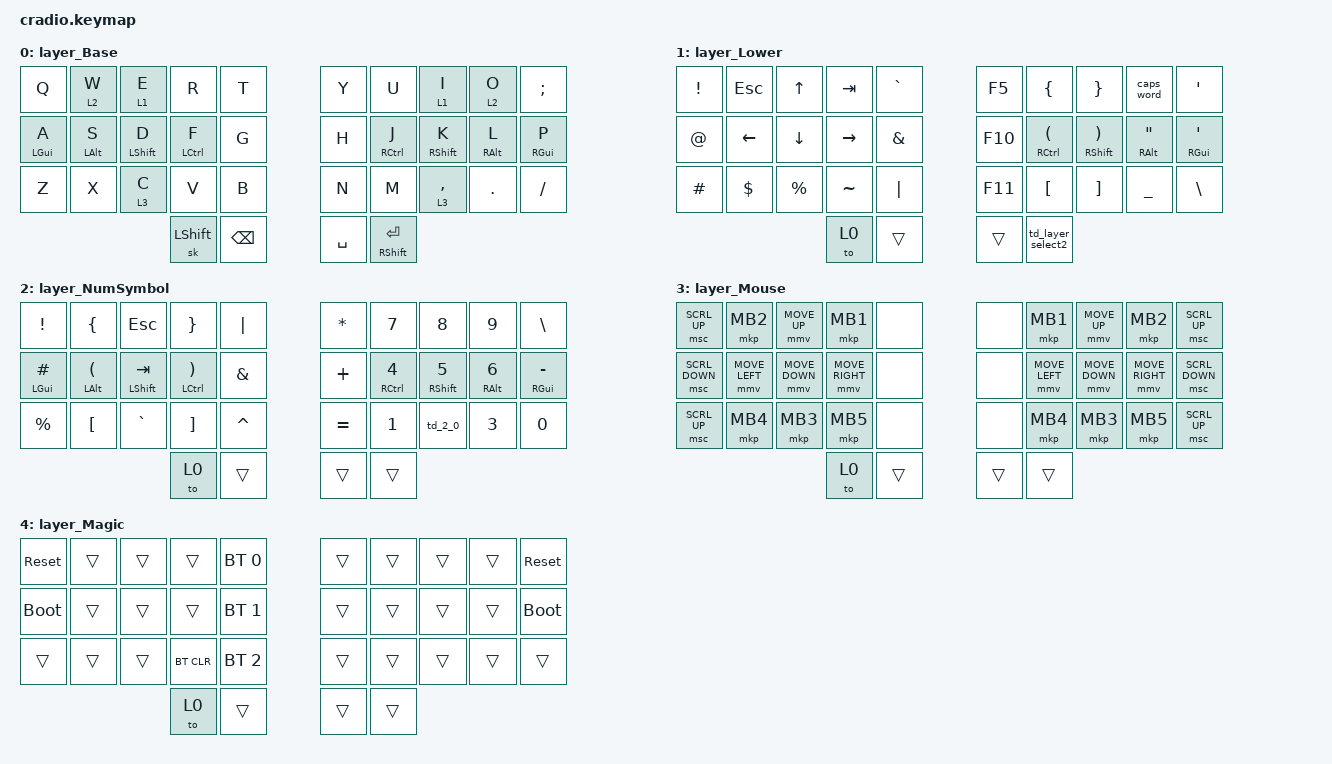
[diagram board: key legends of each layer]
// Copyright (c) 2022 The ZMK Contributors
// SPDX-License-Identifier: MIT

#include <behaviors.dtsi>
#include <dt-bindings/zmk/outputs.h>
#include <dt-bindings/zmk/keys.h>
#include <dt-bindings/zmk/bt.h>

// ==== MOUSE-KEY <section begins> ====
#define ZMK_POINTING_DEFAULT_MOVE_VAL 1250
#define ZMK_POINTING_DEFAULT_SCRL_VAL 100

#include <dt-bindings/zmk/pointing.h>

&mmv {
  acceleration-exponent = <1>;      // 1
  time-to-max-speed-ms = <1500>;    // 40
};

&msc {
  acceleration-exponent = <1>;      // 0
  time-to-max-speed-ms = <5000>;    // 40
};
// ==== MOUSE-KEY <section ends> =====

#define HM_TAPPING_TERM 300
#define HM_TAPPING_TERM_FAST 200
#define HM_PRIOR_IDLE 150

#define COMBO(NAME, BINDINGS, KEYPOS, LAYERS) \
  combo_##NAME { \
    timeout-ms = <50>; \
    bindings = <BINDINGS>; \
    key-positions = <KEYPOS>; \
    layers = <LAYERS>; \
  };

/ {
    behaviors {

    /* Left hand key positions for use with right hand mods */
    #define KEYS_L \
        /*    ┌────┬────┬────┬────┬────┐                                       */ \
                0    1    2    3    4                                             \
        /*    ├────┼────┼────┼────┼────┤                                       */ \
                10   11   12   13   14                                            \
        /*    ├────┼────┼────┼────┼────┤                                       */ \
                20   21   22   23   24
        /*    └────┴────┴────┴────┴────┘                                       */

    /* Right hand key positions for use with left hand mods */
    #define KEYS_R \
        /*                                          ┌────┬────┬────┬────┬────┐ */ \
                                                      5    6    7    8    9       \
        /*                                          ├────┼────┼────┼────┼────┤ */ \
                                                      15   16   17   18   19      \
        /*                                          ├────┼────┼────┼────┼────┤ */ \
                                                      25   26   27   28   29      \
        /*                                          └────┴────┴────┴────┴────┘ */

    /* Thumb key positions for use with mods on both hands */
    #define KEYS_T \
        /*                 ┌────┬────┐      ┌────┬────┐              */ \
                             30   31          32   33
        /*                 └────┴────┘      └────┴────┘              */  

    // Positional Homerow mods
    // Homerow mods that prevent accidental activations when rolling keys,
    // such as when typing `st` or `ne` on colemak-dh layouts or `as` on
    // qwerty.
    //
    // Works by only allowing a mod to activate within tapping-term if
    // it's on the opposite side of the keyboard or on the same side thumb
    // keys.

    // Further optimization using urob's timerless homerow mods method:
    // https://github.com/urob/zmk-config#timeless-homerow-mods
    hm_l: homerow_mods_left {
        compatible = "zmk,behavior-hold-tap";
        #binding-cells = <2>;
        bindings = <&kp>,  <&kp>;

        flavor = "balanced";
        tapping-term-ms = <HM_TAPPING_TERM>;
        quick-tap-ms = <175>;                // repeat on tap-into-hold
        require-prior-idle-ms = <HM_PRIOR_IDLE>;

        hold-trigger-key-positions = <KEYS_R KEYS_T>;
        hold-trigger-on-release;
    };

    hm_r: homerow_mods_right {
        compatible = "zmk,behavior-hold-tap";
        #binding-cells = <2>;
        bindings = <&kp>, <&kp>;

        flavor = "balanced";
        tapping-term-ms = <HM_TAPPING_TERM>;
        quick-tap-ms = <175>;
        require-prior-idle-ms = <HM_PRIOR_IDLE>;

        hold-trigger-key-positions = <KEYS_L KEYS_T>;
        hold-trigger-on-release;
    };

    // Positional Homerow mods for shift
    // Use faster tapping term and disable some features that may
    // cause false negatives.
    hm_shift_l: hm_shift_l {
        compatible = "zmk,behavior-hold-tap";
        #binding-cells = <2>;
        bindings = <&kp>, <&kp>;

        flavor = "balanced";
        tapping-term-ms = <HM_TAPPING_TERM_FAST>;
        quick-tap-ms = <175>;
        require-prior-idle-ms = <HM_PRIOR_IDLE>;

        hold-trigger-key-positions = <KEYS_R KEYS_T>;
        // hold-trigger-on-release;
    };

    hm_shift_r: hm_shift_r {
        compatible = "zmk,behavior-hold-tap";
        #binding-cells = <2>;
        bindings = <&kp>, <&kp>;

        flavor = "balanced";
        tapping-term-ms = <HM_TAPPING_TERM_FAST>;
        quick-tap-ms = <175>;
        require-prior-idle-ms = <HM_PRIOR_IDLE>;

        hold-trigger-key-positions = <KEYS_L KEYS_T>;
        // hold-trigger-on-release;
    };

    layer_hold_left: layer_hold_left {
        compatible = "zmk,behavior-hold-tap";
        #binding-cells = <2>;
        bindings = <&mo>,  <&kp>;

        flavor = "balanced";
        tapping-term-ms = <HM_TAPPING_TERM>;
        quick-tap-ms = <175>;                // repeat on tap-into-hold
        require-prior-idle-ms = <HM_PRIOR_IDLE>;

        hold-trigger-key-positions = <KEYS_R KEYS_T>;
        hold-trigger-on-release;
    };

    layer_hold_right: layer_hold_right {
        compatible = "zmk,behavior-hold-tap";
        #binding-cells = <2>;
        bindings = <&mo>,  <&kp>;

        flavor = "balanced";
        tapping-term-ms = <HM_TAPPING_TERM>;
        quick-tap-ms = <175>;                // repeat on tap-into-hold
        require-prior-idle-ms = <HM_PRIOR_IDLE>;

        hold-trigger-key-positions = <KEYS_L KEYS_T>;
        hold-trigger-on-release;
    };

    td_sticky_toggle1: td_sticky_toggle1 {
        compatible = "zmk,behavior-tap-dance";
        label = "Tap Dance Sticky Toggle 1";
        #binding-cells = <0>;
        tapping-term-ms = <200>; // Adjust based on your tapping speed
        bindings = <&sl 1>, <&tog 1>;
    };

    td_sticky_toggle2: td_sticky_toggle2 {
        compatible = "zmk,behavior-tap-dance";
        label = "Tap Dance Sticky Toggle 2";
        #binding-cells = <0>;
        tapping-term-ms = <200>; // Adjust based on your tapping speed
        bindings = <&sl 2>, <&tog 2>;
    };

    td_sticky_toggle3: td_sticky_toggle3 {
        compatible = "zmk,behavior-tap-dance";
        label = "Tap Dance Sticky Toggle 3";
        #binding-cells = <0>;
        tapping-term-ms = <200>; // Adjust based on your tapping speed
        bindings = <&sl 3>, <&tog 3>;
    };

    td_2_0: td_2_0 {
        compatible = "zmk,behavior-tap-dance";
        label = "Tap Dance 2 0";
        #binding-cells = <0>;
        tapping-term-ms = <200>; // Adjust based on your tapping speed
        bindings = <&kp N2>, <&kp N0>;
    };

    ctrl_hold_layer: ctrl_hold_layer {
        compatible = "zmk,behavior-macro-one-param";
        label = "Custom Layer and Control Hold";
        #binding-cells = <1>;
        bindings=<&macro_param_1to1>, <&macro_press &mo>, <&macro_press &kp LCTRL>, <&macro_pause_for_release>, <&macro_param_1to1>, <&macro_release &mo>, <&macro_release &kp LCTRL>;
    };

    ctrl_hold_tap_layer: ctrl_hold_tap_layer {
        compatible = "zmk,behavior-hold-tap";
        label = "Layer1 Ctrl Hold Tap";
        #binding-cells = <2>;
        tapping-term-ms = <200>; // Adjust as needed
        bindings=<&ctrl_hold_layer>, <&kp>;
    };

    ht_mo_sl: ht_mo_sl {
        compatible = "zmk,behavior-hold-tap";
        label = "Hold and tap layer mo sl";
        #binding-cells = <2>;
        tapping-term-ms = <200>;
        bindings=<&mo>, <&sl>;
    };

    ht_kp_sl: ht_kp_sl {
        compatible = "zmk,behavior-hold-tap";
        label = "Hold and tap layer kp sl";
        #binding-cells = <2>;
        tapping-term-ms = <200>;
        bindings=<&kp>, <&sl>;
    };

    td_layer_select1: td_layer_select1 {
        compatible = "zmk,behavior-tap-dance";
        label = "Tap Dance Layer 1";
        #binding-cells = <0>;
        tapping-term-ms = <200>;
        bindings = <&sl 1>, <&to 1>;
    };

    td_layer_select2: td_layer_select2 {
        compatible = "zmk,behavior-tap-dance";
        label = "Tap Dance Layer 2";
        #binding-cells = <0>;
        tapping-term-ms = <200>;
        bindings = <&ht_kp_sl RSHIFT 2>, <&to 2>;
    };

    /*
    * Non-Positional Homerow Mods
    * Used for &mm_grescm_gui behavior on left hand.
    *
    * Usage: &hm LSHFT T
    * Tap: T
    * Tap-Tap-Hold: Repeat T
    * Hold: LSHIFT
    */
    hm: homerow_mods {
        compatible = "zmk,behavior-hold-tap";
        #binding-cells = <2>;
        bindings = <&kp>, <&kp>;

        flavor = "balanced";
        tapping-term-ms = <HM_TAPPING_TERM>;
        quick-tap-ms = <200>;
    };
    };

    combos {
        compatible = "zmk,combos";

        COMBO(go_layer_3, &to 3, 31 32, 0 1 2 4)
        COMBO(go_default_layer1, &to 0, 31 32, 3)
        COMBO(go_default_layer2, &to 0, 14 15, 0 1 2 3 4)
        COMBO(go_magic_layer, &to 4, 31 20, 0 1 2 3 4)
        COMBO(press_space_key, &kp SPACE, 12 17, 0 1 2 3 4)
        COMBO(press_enter_key, &kp RET, 13 16, 0 1 2 3 4)
        COMBO(press_backspace_key, &kp BSPC, 11 18, 0 1 2 3 4)
    };
};

    //╭──────┬──────┬──────┬──────┬──────╮   ╭──────┬──────┬──────┬──────┬──────╮    
    //|   0  |   1  |   2  |   3  |   4  |   |   5  |   6  |   7  |   8  |   9  |
    //├──────┼──────┼──────┼──────┼──────┤   ├──────┼──────┼──────┼──────┼──────┤
    //|  10  |  11  |  12  |  13  |  14  |   |  15  |  16  |  17  |  18  |  19  |
    //├──────┼──────┼──────┼──────┼──────┤   ├──────┼──────┼──────┼──────┼──────┤
    //|  20  |  21  |  22  |  23  |  24  |   |  25  |  26  |  27  |  28  |  29  |
    //╰──────┴──────┼──────┼──────┼──────┤   ├──────┼──────┼──────┴──────┴──────╯
    //                     |  30  |  31  |   |  32  |  33  |
    //                     ╰──────┴──────╯   ╰──────┴──────╯

/ {

    keymap {
        compatible = "zmk,keymap";
        layer_Base {
            bindings = <
                &kp Q           &layer_hold_left 2 W    &layer_hold_left 1 E    &kp R               &kp T       /*|*/       &kp Y       &kp U           &layer_hold_right 1 I       &layer_hold_right 2 O   &kp SEMI
                &hm_l LGUI A    &hm_l LALT S            &hm_shift_l LSHIFT D    &hm_l LCTRL F       &kp G       /*|*/       &kp H       &hm_r RCTRL J   &hm_shift_r RSHIFT K        &hm_r RALT L            &hm_r RGUI P
                &kp Z           &kp X                   &layer_hold_left 3 C    &kp V               &kp B       /*|*/       &kp N       &kp M           &layer_hold_right 3 COMMA   &kp DOT                 &kp FSLH
                                                                                &sk LSHIFT          &kp BSPC    /*|*/       &kp SPACE   &mt RSHFT RET
                                                                                //&kp BSPC            &kp LSHIFT  /*|*/       &mt RSHFT RET &kp SPACE
            >;
        };

        // &td_layer_select1   &kp BSPC    /*|*/       &kp SPACE   &mt RSHFT RET
        // &kp BSPC      &td_layer_select1 /*|*/     &mt RSHFT RET &kp SPACE

        layer_Lower {
            bindings = <
                &kp EXCL        &kp ESC                 &kp UP                  &kp TAB             &kp GRAVE   /*|*/       &kp F5      &kp LBRC         &kp RBRC                   &caps_word              &kp SQT
                &kp AT          &kp LEFT                &kp DOWN                &kp RIGHT           &kp AMPS    /*|*/       &kp F10     &hm_r RCTRL LPAR &hm_shift_r RSHIFT RPAR    &hm_r RALT DQT          &hm_r RGUI SQT 
                &kp HASH        &kp DLLR                &kp PRCNT               &kp TILDE           &kp PIPE    /*|*/       &kp F11     &kp LBKT         &kp RBKT                   &kp UNDER               &kp BSLH
                                                                                &to 0               &trans      /*|*/       &trans      &td_layer_select2
            >;
        };

        // &to 0               &trans      /*|*/       &trans      &td_layer_select2
        // &trans              &to 0       /*|*/       &td_layer_select2 &trans      

        layer_NumSymbol {
            bindings = <
                &kp EXCL        &kp LBRC                &kp ESC                 &kp RBRC            &kp PIPE    /*|*/       &kp STAR    &kp N7         &kp N8                 &kp N9               &kp BSLH        
                &hm_l LGUI HASH &hm_l LALT LPAR         &hm_shift_l LSHIFT TAB  &hm_l LCTRL RPAR    &kp AMPS    /*|*/       &kp PLUS    &hm_r RCTRL N4 &hm_shift_r RSHIFT N5  &hm_r RALT N6        &hm_r RGUI MINUS
                &kp PRCNT       &kp LBKT                &kp GRAVE               &kp RBKT            &kp CARET   /*|*/       &kp EQUAL   &kp N1         &td_2_0                   &kp N3               &kp N0  
                                                                                &to 0               &trans      /*|*/       &trans      &trans
            >;
        };

        layer_Mouse {
            bindings = <
                &msc SCRL_UP    &mkp MB2                &mmv MOVE_UP            &mkp MB1             &none       /*|*/       &none       &mkp MB1         &mmv MOVE_UP              &mkp MB2                &msc SCRL_UP
                &msc SCRL_DOWN  &mmv MOVE_LEFT          &mmv MOVE_DOWN          &mmv MOVE_RIGHT      &none       /*|*/       &none       &mmv MOVE_LEFT   &mmv MOVE_DOWN            &mmv MOVE_RIGHT         &msc SCRL_DOWN
                &msc SCRL_UP    &mkp MB4                &mkp MB3                &mkp MB5             &none       /*|*/       &none       &mkp MB4         &mkp MB3                  &mkp MB5                &msc SCRL_UP
                                                                                &to 0                &trans      /*|*/       &trans      &trans
            >;
        };
        layer_Magic {
            bindings = <
        //╭──────────┬──────────┬──────────┬──────────┬──────────╮   ╭──────────┬──────────┬──────────┬──────────┬──────────╮
        //│ RESET    │          │          │          │PROFILE 0 │   │          │          │          │          │  RESET   │
           &sys_reset  &trans     &trans     &trans    &bt BT_SEL 0    &trans     &trans     &trans     &trans    &sys_reset
        //├──────────┼──────────┼──────────┼──────────┼──────────┤   ├──────────┼──────────┼──────────┼──────────┼──────────┤
        //│BOOTLOADER│          │          │          │PROFILE 1 │   │          │          │          │          │BOOTLOADER│
          &bootloader  &trans     &trans     &trans    &bt BT_SEL 1    &trans     &trans     &trans     &trans    &bootloader
        //├──────────┼──────────┼──────────┼──────────┼──────────┤   ├──────────┼──────────┼──────────┼──────────┼──────────┤
        //│          │          │          │ CLEAR BT │PROFILE 2 │   │          │          │          │          │          │
            &trans     &trans     &trans    &bt BT_CLR &bt BT_SEL 2    &trans     &trans     &trans     &trans     &trans
        //╰──────────┴──────────┴──────────┼──────────┼──────────┤   ├──────────┼──────────┼──────────┴──────────┴──────────╯
                                               &to 0     &trans         &trans     &trans
        //                                 ╰──────────┴──────────╯   ╰──────────┴──────────╯
            >;
        };
    };
};
